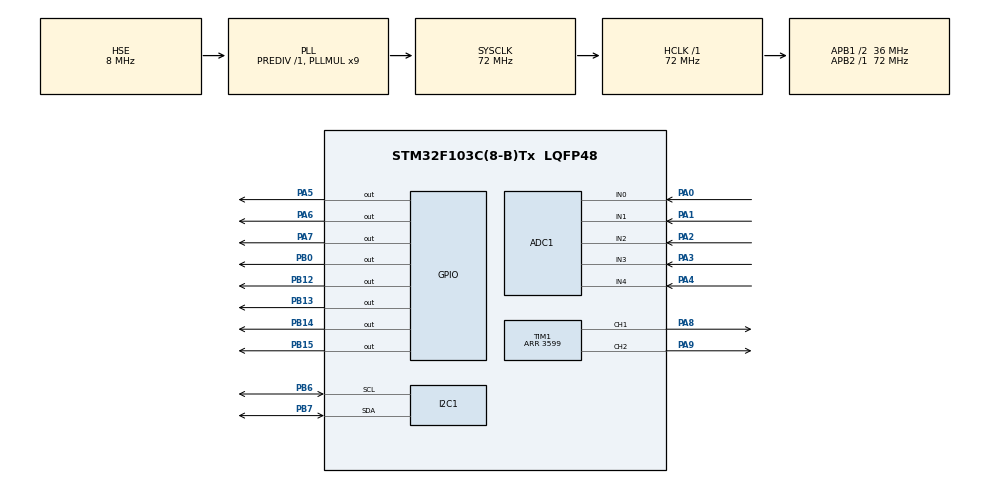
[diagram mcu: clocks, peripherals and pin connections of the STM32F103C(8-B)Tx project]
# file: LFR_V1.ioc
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ADC1.Channel-1\#ChannelRegularConversion=ADC_CHANNEL_0
ADC1.NbrOfConversionFlag=1
ADC1.Rank-1\#ChannelRegularConversion=1
ADC1.SamplingTime-1\#ChannelRegularConversion=ADC_SAMPLETIME_1CYCLE_5
ADC1.master=1
Mcu.Family=STM32F1
Mcu.Name=STM32F103C(8-B)Tx
Mcu.Package=LQFP48
NVIC.PriorityGroup=NVIC_PRIORITYGROUP_4
NVIC.TIM2_IRQn=true\:0\:0\:false\:false\:true\:true\:true\:true
PA0-WKUP.Signal=ADCx_IN0
PA1.Signal=ADCx_IN1
PA13.Mode=Serial_Wire
PA13.Signal=SYS_JTMS-SWDIO
PA14.Mode=Serial_Wire
PA14.Signal=SYS_JTCK-SWCLK
PA2.Signal=ADCx_IN2
PA3.Signal=ADCx_IN3
PA4.Signal=ADCx_IN4
PA5.Signal=GPIO_Output
PA6.Signal=GPIO_Output
PA7.Signal=GPIO_Output
PA8.Signal=S_TIM1_CH1
PA9.Signal=S_TIM1_CH2
PB0.Signal=GPIO_Output
PB12.Signal=GPIO_Output
PB13.Signal=GPIO_Output
PB14.Signal=GPIO_Output
PB15.Signal=GPIO_Output
PB6.Mode=I2C
PB6.Signal=I2C1_SCL
PB7.Mode=I2C
PB7.Signal=I2C1_SDA
PD0-OSC_IN.Mode=HSE-External-Oscillator
PD0-OSC_IN.Signal=RCC_OSC_IN
PD1-OSC_OUT.Mode=HSE-External-Oscillator
PD1-OSC_OUT.Signal=RCC_OSC_OUT
ProjectManager.HeapSize=0x200
ProjectManager.StackSize=0x400
ProjectManager.TargetToolchain=STM32CubeIDE
RCC.ADCPresc=RCC_ADCPCLK2_DIV6
RCC.AHBFreq_Value=72000000
RCC.APB1CLKDivider=RCC_HCLK_DIV2
RCC.APB1Freq_Value=36000000
RCC.APB1TimFreq_Value=72000000
RCC.APB2Freq_Value=72000000
RCC.APB2TimFreq_Value=72000000
RCC.HCLKFreq_Value=72000000
RCC.PLLMUL=RCC_PLL_MUL9
RCC.PLLSourceVirtual=RCC_PLLSOURCE_HSE
RCC.SYSCLKFreq_VALUE=72000000
RCC.SYSCLKSource=RCC_SYSCLKSOURCE_PLLCLK
RCC.USBFreq_Value=72000000
SH.ADCx_IN0.0=ADC1_IN0,IN0
SH.ADCx_IN1.0=ADC1_IN1,IN1
SH.ADCx_IN2.0=ADC1_IN2,IN2
SH.ADCx_IN3.0=ADC1_IN3,IN3
SH.ADCx_IN4.0=ADC1_IN4,IN4
SH.S_TIM1_CH1.0=TIM1_CH1,PWM Generation1 CH1
SH.S_TIM1_CH2.0=TIM1_CH2,PWM Generation2 CH2
TIM1.AutoReloadPreload=TIM_AUTORELOAD_PRELOAD_ENABLE
TIM1.AutomaticOutput=TIM_AUTOMATICOUTPUT_ENABLE
TIM1.Channel-PWM\ Generation1\ CH1=TIM_CHANNEL_1
TIM1.Channel-PWM\ Generation2\ CH2=TIM_CHANNEL_2
TIM1.Period=3599
TIM2.Period=999
TIM2.Prescaler=71
VP_TIM1_VS_ClockSourceINT.Mode=Internal
VP_TIM2_VS_ClockSourceINT.Mode=Internal
board=custom

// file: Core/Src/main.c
/* USER CODE BEGIN Header */
/**
  ******************************************************************************
  * @file           : main.c
  * @brief          : Main program body
  ******************************************************************************
  * @attention
  *
  * Copyright (c) 2026 STMicroelectronics.
  * All rights reserved.
  *
  * This software is licensed under terms that can be found in the LICENSE file
  * in the root directory of this software component.
  * If no LICENSE file comes with this software, it is provided AS-IS.
  *
  ******************************************************************************
  */
/* USER CODE END Header */
#include "main.h"

/* USER CODE BEGIN Includes */
#include "ssd1306.h"
#include "ssd1306_tests.h" // Optional
#include "ssd1306_fonts.h"
#include <stdio.h>
#include "lfr.h"

/* USER CODE END Includes */

ADC_HandleTypeDef hadc1;

I2C_HandleTypeDef hi2c1;

TIM_HandleTypeDef htim1;
TIM_HandleTypeDef htim2;

void SystemClock_Config(void);
static void MX_GPIO_Init(void);
static void MX_ADC1_Init(void);
static void MX_I2C1_Init(void);
static void MX_TIM1_Init(void);
static void MX_TIM2_Init(void);

/* USER CODE BEGIN 0 */
uint32_t read_adc_channel(uint32_t channel) {
    ADC_ChannelConfTypeDef sConfig = {0};
    sConfig.Channel = channel;
    sConfig.Rank = ADC_REGULAR_RANK_1;
    sConfig.SamplingTime = ADC_SAMPLETIME_71CYCLES_5;
    if (HAL_ADC_ConfigChannel(&hadc1, &sConfig) != HAL_OK) {
        Error_Handler();
    }
    HAL_ADC_Start(&hadc1);
    HAL_ADC_PollForConversion(&hadc1, 100);
    uint32_t val = HAL_ADC_GetValue(&hadc1);
    HAL_ADC_Stop(&hadc1);
    return val;
}

/* USER CODE END 0 */

int main(void)
{

  /* MCU Configuration--------------------------------------------------------*/

  /* Reset of all peripherals, Initializes the Flash interface and the Systick. */
  HAL_Init();

  /* Configure the system clock */
  SystemClock_Config();

  /* Initialize all configured peripherals */
  MX_GPIO_Init();
  MX_ADC1_Init();
  MX_I2C1_Init();
  MX_TIM1_Init();
  MX_TIM2_Init();
  /* USER CODE BEGIN 2 */
  LFR_Init();
  HAL_TIM_Base_Start_IT(&htim2);

  ssd1306_Init();
  HAL_Delay(100);
  ssd1306_Fill(Black);
  ssd1306_SetCursor(14, 23);
  ssd1306_WriteString("Team Axon", Font_11x18, White);
  ssd1306_UpdateScreen();
  HAL_Delay(2000);

  /* USER CODE END 2 */

  /* Infinite loop */
  /* USER CODE BEGIN WHILE */
  typedef enum {
      STATE_MAIN_MENU,
      STATE_PID_MENU,
      STATE_TUNE_VAL,
      STATE_STOPWATCH,
      STATE_RUN_TIMES,
      STATE_TUNE_SPEED
  } MenuState_t;

  MenuState_t current_state = STATE_MAIN_MENU;
  uint8_t main_menu_index = 0;
  uint8_t pid_menu_index = 0;

  // ==========================================
  // HARDCODED DEFAULT SETTINGS
  // Change these values to set the startup PID
  // and speed directly from the code!
  // ==========================================
  float pid_p = 0.2f;      // Proportional (Start 0.1 - 0.3)
  float pid_i = 0.0f;      // Integral (Keep at 0 until P and D are perfect)
  float pid_d = 3.0f;      // Derivative (Start 1.0 - 5.0)
  int robot_speed = 1500;  // Base speed (0 to 3599) - Lowered to 1500 for testing
  int motor_offset = 0;    // Reset offset to 0. A massive offset saturates the motors!
  // ==========================================

  uint8_t prev_up = 0;
  uint8_t prev_down = 0;
  uint8_t prev_select = 0;
  uint8_t prev_start = 0;

  uint32_t stopwatch_start_time = 0;
  uint32_t run_times[15] = {0};
  uint8_t num_run_times = 0;
  uint8_t run_times_scroll = 0;

  const char* menu_options[3] = {
      "PID Tuning",
      "Speed Tuning",
      "Run Times"
  };

  const char* pid_options[4] = {
      "Tune P",
      "Tune I",
      "Tune D",
      "Back"
  };

  while (1)
  {
      uint32_t l_sw_val = LFR_GetSwitchL();
      uint32_t r_sw_val = LFR_GetSwitchR();

      uint8_t btn_up = (l_sw_val > 400 && l_sw_val < 900) ? 1 : 0;
      uint8_t btn_down = (l_sw_val >= 900 && l_sw_val < 1350) ? 1 : 0;
      uint8_t btn_select = (l_sw_val >= 1350 && l_sw_val < 1800) ? 1 : 0;

      uint8_t btn_start = (r_sw_val > 400 && r_sw_val < 900) ? 1 : 0;
      uint8_t btn_calibrate = (r_sw_val >= 900 && r_sw_val < 1350) ? 1 : 0;

      // Start Button Logic (Stopwatch)
      if (btn_start && !prev_start) {
          if (current_state == STATE_MAIN_MENU) {
              current_state = STATE_STOPWATCH;
              stopwatch_start_time = HAL_GetTick();

              LFR_SetPID(pid_p, pid_i, pid_d);
              LFR_SetBaseSpeed(robot_speed);
              LFR_SetMotorOffset(motor_offset);
              LFR_Start();
          } else if (current_state == STATE_STOPWATCH) {
              LFR_Stop();

              uint32_t elapsed = HAL_GetTick() - stopwatch_start_time;

              // Shift history down and insert at top
              for (int i = 14; i > 0; i--) {
                  run_times[i] = run_times[i-1];
              }
              run_times[0] = elapsed;
              if (num_run_times < 15) num_run_times++;

              // Return to main menu
              current_state = STATE_MAIN_MENU;
          }
      }
      prev_start = btn_start;

      // Calibrate Button Logic
      if (btn_calibrate && current_state == STATE_MAIN_MENU) {
          LFR_Calibrate();

          // Make the robot rotate automatically during calibration
          LFR_SetMotors(1500, -1500);

          const char* dots_str[4] = {"", ".", "..", "..."};
          uint32_t cal_start = HAL_GetTick();
          uint32_t elapsed = 0;

          while ((elapsed = HAL_GetTick() - cal_start) <= 10000) {
              ssd1306_Fill(Black);

              char cal_str[20];
              sprintf(cal_str, "Calibrating%s", dots_str[(elapsed / 500) % 4]);
              ssd1306_SetCursor(18, 15);
              ssd1306_WriteString(cal_str, Font_7x10, White);

              // Draw progress bar outline
              ssd1306_DrawRectangle(14, 32, 114, 42, White);

              // Fill progress bar (max width 96)
              int fill_width = (elapsed * 96) / 10000;
              if (fill_width > 0) {
                  ssd1306_FillRectangle(16, 34, 16 + fill_width, 40, White);
              }

              // Percentage text
              char pct_str[10];
              sprintf(pct_str, "%lu%%", (elapsed * 100) / 10000);
              ssd1306_SetCursor(55, 48);
              ssd1306_WriteString(pct_str, Font_6x8, White);

              ssd1306_UpdateScreen();
          }

          // Calibration complete message
          LFR_EndCalibrate();

          // Stop rotating
          LFR_SetMotors(0, 0);

          ssd1306_Fill(Black);
          ssd1306_SetCursor(28, 25);
          ssd1306_WriteString("Complete!", Font_7x10, White);
          ssd1306_UpdateScreen();
          HAL_Delay(1500);

          // Force clear previous button states to prevent phantom clicks
          prev_up = prev_down = prev_select = 0;
          continue; // Restart the loop
      }

      // State machine for menu navigation
      if (btn_up && !prev_up) {
          if (current_state == STATE_MAIN_MENU) {
              main_menu_index = (main_menu_index == 0) ? 2 : main_menu_index - 1;
          } else if (current_state == STATE_PID_MENU) {
              pid_menu_index = (pid_menu_index == 0) ? 3 : pid_menu_index - 1;
          } else if (current_state == STATE_TUNE_VAL) {
              if (pid_menu_index == 0) pid_p += 0.1f;
              else if (pid_menu_index == 1) pid_i += 0.0001f;
              else if (pid_menu_index == 2) pid_d += 0.1f;
          } else if (current_state == STATE_RUN_TIMES) {
              if (run_times_scroll > 0) run_times_scroll--;
          } else if (current_state == STATE_TUNE_SPEED) {
              if (robot_speed <= 4080) robot_speed += 10;
              else robot_speed = 4090; // clamp
          }
      }
      if (btn_down && !prev_down) {
          if (current_state == STATE_MAIN_MENU) {
              main_menu_index = (main_menu_index == 2) ? 0 : main_menu_index + 1;
          } else if (current_state == STATE_PID_MENU) {
              pid_menu_index = (pid_menu_index == 3) ? 0 : pid_menu_index + 1;
          } else if (current_state == STATE_TUNE_VAL) {
              if (pid_menu_index == 0) pid_p -= 0.1f;
              else if (pid_menu_index == 1) pid_i -= 0.0001f;
              else if (pid_menu_index == 2) pid_d -= 0.1f;
          } else if (current_state == STATE_RUN_TIMES) {
              if (num_run_times > 4 && run_times_scroll < num_run_times - 4) {
                  run_times_scroll++;
              }
          } else if (current_state == STATE_TUNE_SPEED) {
              if (robot_speed >= 10) robot_speed -= 10;
              else robot_speed = 0; // clamp
          }
      }
      if (btn_select && !prev_select) {
          if (current_state == STATE_MAIN_MENU) {
              if (main_menu_index == 0) { // PID Tuning
                  current_state = STATE_PID_MENU;
                  pid_menu_index = 0;
              } else if (main_menu_index == 1) { // Speed Tuning
                  current_state = STATE_TUNE_SPEED;
              } else if (main_menu_index == 2) { // Run Times
                  current_state = STATE_RUN_TIMES;
                  run_times_scroll = 0;
              }
          } else if (current_state == STATE_PID_MENU) {
              if (pid_menu_index == 3) { // Back
                  current_state = STATE_MAIN_MENU;
              } else {
                  current_state = STATE_TUNE_VAL;
              }
          } else if (current_state == STATE_TUNE_VAL) {
              // Press select again to confirm and return to PID menu
              current_state = STATE_PID_MENU;
          } else if (current_state == STATE_RUN_TIMES) {
              // Press select to return to main menu
              current_state = STATE_MAIN_MENU;
          } else if (current_state == STATE_TUNE_SPEED) {
              current_state = STATE_MAIN_MENU;
          }
      }

      prev_up = btn_up;
      prev_down = btn_down;
      prev_select = btn_select;

      // Render Menu
      ssd1306_Fill(Black);

      if (current_state == STATE_MAIN_MENU || current_state == STATE_PID_MENU) {
          uint8_t num_options = (current_state == STATE_MAIN_MENU) ? 3 : 4;
          uint8_t active_idx = (current_state == STATE_MAIN_MENU) ? main_menu_index : pid_menu_index;
          const char** options_arr = (current_state == STATE_MAIN_MENU) ? menu_options : pid_options;

          // Draw shallow arc/curve on the left
          ssd1306_Line(2, 5, 6, 18, White);
          ssd1306_Line(6, 18, 10, 32, White);
          ssd1306_Line(10, 32, 6, 46, White);
          ssd1306_Line(6, 46, 2, 59, White);

          // Top Item (Previous)
          int prev_idx = (active_idx == 0) ? num_options - 1 : active_idx - 1;
          ssd1306_DrawCircle(6, 15, 2, White);
          ssd1306_SetCursor(16, 11);
          ssd1306_WriteString((char*)options_arr[prev_idx], Font_6x8, White);

          // Center Item (Selected)
          ssd1306_DrawCircle(10, 32, 3, White);
          ssd1306_FillCircle(10, 32, 1, White);
          ssd1306_Line(13, 32, 18, 32, White);

          // Highlight bar
          ssd1306_FillRectangle(18, 23, 127, 41, White);
          ssd1306_SetCursor(22, 27);
          ssd1306_WriteString((char*)options_arr[active_idx], Font_7x10, Black);

          // Bottom Item (Next)
          int next_idx = (active_idx == num_options - 1) ? 0 : active_idx + 1;
          ssd1306_DrawCircle(6, 49, 2, White);
          ssd1306_SetCursor(16, 45);
          ssd1306_WriteString((char*)options_arr[next_idx], Font_6x8, White);
      }
      else if (current_state == STATE_TUNE_VAL) {
          // Tune Value Screen
          ssd1306_SetCursor(36, 5);
          if (pid_menu_index == 0) ssd1306_WriteString("Tuning P", Font_7x10, White);
          else if (pid_menu_index == 1) ssd1306_WriteString("Tuning I", Font_7x10, White);
          else if (pid_menu_index == 2) ssd1306_WriteString("Tuning D", Font_7x10, White);

          char val_str[16];
          float val = (pid_menu_index == 0) ? pid_p : (pid_menu_index == 1) ? pid_i : pid_d;

          // Manual float to string to avoid printf %f missing library issues
          int sign = (val < 0) ? -1 : 1;
          val *= sign;
          int int_part = (int)val;

          if (pid_menu_index == 1) { // 4 decimals for I
              int frac_part = (int)((val - int_part) * 10000.0f + 0.5f);
              if (frac_part >= 10000) { int_part++; frac_part -= 10000; }
              sprintf(val_str, "%s%d.%04d", (sign < 0) ? "-" : "", int_part, frac_part);
          } else { // 1 decimal for P and D
              int frac_part = (int)((val - int_part) * 10.0f + 0.5f);
              if (frac_part >= 10) { int_part++; frac_part -= 10; }
              sprintf(val_str, "%s%d.%01d", (sign < 0) ? "-" : "", int_part, frac_part);
          }

          // Draw neat bounding box
          ssd1306_DrawRectangle(10, 20, 118, 48, White);
          ssd1306_SetCursor(20, 27);
          ssd1306_WriteString(val_str, Font_11x18, White);

          // Draw UP / DOWN hints
          ssd1306_SetCursor(13, 54);
          ssd1306_WriteString("[UP/DN to adjust]", Font_6x8, White);
      }
      else if (current_state == STATE_TUNE_SPEED) {
          // Tune Speed Screen
          ssd1306_SetCursor(22, 5);
          ssd1306_WriteString("Tuning Speed", Font_7x10, White);

          char val_str[16];
          int len = sprintf(val_str, "%d", robot_speed);

          // Draw neat bounding box
          ssd1306_DrawRectangle(10, 20, 118, 48, White);

          // Dynamically center the number based on its length
          int x_pos = 10 + (108 - (len * 11)) / 2;
          ssd1306_SetCursor(x_pos, 27);
          ssd1306_WriteString(val_str, Font_11x18, White);

          // Draw UP / DOWN hints
          ssd1306_SetCursor(13, 54);
          ssd1306_WriteString("[UP/DN to adjust]", Font_6x8, White);
      }
      else if (current_state == STATE_STOPWATCH) {
          // Stopwatch Screen
          ssd1306_SetCursor(38, 5);
          ssd1306_WriteString("STOPWATCH", Font_7x10, White);

          uint32_t elapsed = HAL_GetTick() - stopwatch_start_time;
          uint32_t ms = elapsed % 1000;
          uint32_t sec = (elapsed / 1000) % 60;
          uint32_t min = (elapsed / 60000);

          char time_str[16];
          sprintf(time_str, "%02lu:%02lu.%03lu", min, sec, ms);

          // Draw neat bounding box
          ssd1306_DrawRectangle(10, 20, 118, 48, White);
          ssd1306_SetCursor(18, 27);
          ssd1306_WriteString(time_str, Font_11x18, White);

          ssd1306_SetCursor(16, 54);
          ssd1306_WriteString("[START to return]", Font_6x8, White);
      }
      else if (current_state == STATE_RUN_TIMES) {
          ssd1306_SetCursor(32, 0);
          ssd1306_WriteString("RUN TIMES", Font_7x10, White);
          ssd1306_Line(0, 12, 127, 12, White);

          if (num_run_times == 0) {
              ssd1306_SetCursor(10, 30);
              ssd1306_WriteString("No runs yet!", Font_7x10, White);
          } else {
              for (int i = 0; i < 4; i++) {
                  int idx = run_times_scroll + i;
                  if (idx >= num_run_times) break;

                  uint32_t elapsed = run_times[idx];
                  uint32_t ms = elapsed % 1000;
                  uint32_t sec = (elapsed / 1000) % 60;
                  uint32_t min = (elapsed / 60000);

                  char time_str[24];
                  sprintf(time_str, "%2d.%02lu:%02lu.%03lu", idx + 1, min, sec, ms);

                  ssd1306_SetCursor(5, 16 + i * 11);
                  ssd1306_WriteString(time_str, Font_7x10, White);
              }

              // Draw scroll indicator if list overflows
              if (num_run_times > 4) {
                  int scroll_y = 15 + (run_times_scroll * 30) / (num_run_times - 4);
                  ssd1306_DrawRectangle(124, 15, 127, 55, White);
                  ssd1306_FillRectangle(124, scroll_y, 127, scroll_y + 10, White);
              }
          }

          ssd1306_SetCursor(13, 56);
          ssd1306_WriteString("[SELECT to return]", Font_6x8, White);
      }

      ssd1306_UpdateScreen();
      HAL_Delay(50); // Small delay for button debouncing
    /* USER CODE END WHILE */

  }
}

void SystemClock_Config(void)
{
  RCC_OscInitTypeDef RCC_OscInitStruct = {0};
  RCC_ClkInitTypeDef RCC_ClkInitStruct = {0};
  RCC_PeriphCLKInitTypeDef PeriphClkInit = {0};

  /** Initializes the RCC Oscillators according to the specified parameters
  * in the RCC_OscInitTypeDef structure.
  */
  RCC_OscInitStruct.OscillatorType = RCC_OSCILLATORTYPE_HSE;
  RCC_OscInitStruct.HSEState = RCC_HSE_ON;
  RCC_OscInitStruct.HSEPredivValue = RCC_HSE_PREDIV_DIV1;
  RCC_OscInitStruct.HSIState = RCC_HSI_ON;
  RCC_OscInitStruct.PLL.PLLState = RCC_PLL_ON;
  RCC_OscInitStruct.PLL.PLLSource = RCC_PLLSOURCE_HSE;
  RCC_OscInitStruct.PLL.PLLMUL = RCC_PLL_MUL9;
  if (HAL_RCC_OscConfig(&RCC_OscInitStruct) != HAL_OK)
  {
    Error_Handler();
  }

  /** Initializes the CPU, AHB and APB buses clocks
  */
  RCC_ClkInitStruct.ClockType = RCC_CLOCKTYPE_HCLK|RCC_CLOCKTYPE_SYSCLK
                              |RCC_CLOCKTYPE_PCLK1|RCC_CLOCKTYPE_PCLK2;
  RCC_ClkInitStruct.SYSCLKSource = RCC_SYSCLKSOURCE_PLLCLK;
  RCC_ClkInitStruct.AHBCLKDivider = RCC_SYSCLK_DIV1;
  RCC_ClkInitStruct.APB1CLKDivider = RCC_HCLK_DIV2;
  RCC_ClkInitStruct.APB2CLKDivider = RCC_HCLK_DIV1;

  if (HAL_RCC_ClockConfig(&RCC_ClkInitStruct, FLASH_LATENCY_2) != HAL_OK)
  {
    Error_Handler();
  }
  PeriphClkInit.PeriphClockSelection = RCC_PERIPHCLK_ADC;
  PeriphClkInit.AdcClockSelection = RCC_ADCPCLK2_DIV6;
  if (HAL_RCCEx_PeriphCLKConfig(&PeriphClkInit) != HAL_OK)
  {
    Error_Handler();
  }
}

static void MX_ADC1_Init(void)
{

  ADC_ChannelConfTypeDef sConfig = {0};

  /** Common config
  */
  hadc1.Instance = ADC1;
  hadc1.Init.ScanConvMode = ADC_SCAN_DISABLE;
  hadc1.Init.ContinuousConvMode = DISABLE;
  hadc1.Init.DiscontinuousConvMode = DISABLE;
  hadc1.Init.ExternalTrigConv = ADC_SOFTWARE_START;
  hadc1.Init.DataAlign = ADC_DATAALIGN_RIGHT;
  hadc1.Init.NbrOfConversion = 1;
  if (HAL_ADC_Init(&hadc1) != HAL_OK)
  {
    Error_Handler();
  }

  /** Configure Regular Channel
  */
  sConfig.Channel = ADC_CHANNEL_0;
  sConfig.Rank = ADC_REGULAR_RANK_1;
  sConfig.SamplingTime = ADC_SAMPLETIME_1CYCLE_5;
  if (HAL_ADC_ConfigChannel(&hadc1, &sConfig) != HAL_OK)
  {
    Error_Handler();
  }

}

static void MX_I2C1_Init(void)
{

  hi2c1.Instance = I2C1;
  hi2c1.Init.ClockSpeed = 100000;
  hi2c1.Init.DutyCycle = I2C_DUTYCYCLE_2;
  hi2c1.Init.OwnAddress1 = 0;
  hi2c1.Init.AddressingMode = I2C_ADDRESSINGMODE_7BIT;
  hi2c1.Init.DualAddressMode = I2C_DUALADDRESS_DISABLE;
  hi2c1.Init.OwnAddress2 = 0;
  hi2c1.Init.GeneralCallMode = I2C_GENERALCALL_DISABLE;
  hi2c1.Init.NoStretchMode = I2C_NOSTRETCH_DISABLE;
  if (HAL_I2C_Init(&hi2c1) != HAL_OK)
  {
    Error_Handler();
  }

}

static void MX_TIM1_Init(void)
{

  TIM_ClockConfigTypeDef sClockSourceConfig = {0};
  TIM_MasterConfigTypeDef sMasterConfig = {0};
  TIM_OC_InitTypeDef sConfigOC = {0};
  TIM_BreakDeadTimeConfigTypeDef sBreakDeadTimeConfig = {0};

  htim1.Instance = TIM1;
  htim1.Init.Prescaler = 0;
  htim1.Init.CounterMode = TIM_COUNTERMODE_UP;
  htim1.Init.Period = 3599;
  htim1.Init.ClockDivision = TIM_CLOCKDIVISION_DIV1;
  htim1.Init.RepetitionCounter = 0;
  htim1.Init.AutoReloadPreload = TIM_AUTORELOAD_PRELOAD_ENABLE;
  if (HAL_TIM_Base_Init(&htim1) != HAL_OK)
  {
    Error_Handler();
  }
  sClockSourceConfig.ClockSource = TIM_CLOCKSOURCE_INTERNAL;
  if (HAL_TIM_ConfigClockSource(&htim1, &sClockSourceConfig) != HAL_OK)
  {
    Error_Handler();
  }
  if (HAL_TIM_PWM_Init(&htim1) != HAL_OK)
  {
    Error_Handler();
  }
  sMasterConfig.MasterOutputTrigger = TIM_TRGO_RESET;
  sMasterConfig.MasterSlaveMode = TIM_MASTERSLAVEMODE_DISABLE;
  if (HAL_TIMEx_MasterConfigSynchronization(&htim1, &sMasterConfig) != HAL_OK)
  {
    Error_Handler();
  }
  sConfigOC.OCMode = TIM_OCMODE_PWM1;
  sConfigOC.Pulse = 0;
  sConfigOC.OCPolarity = TIM_OCPOLARITY_HIGH;
  sConfigOC.OCNPolarity = TIM_OCNPOLARITY_HIGH;
  sConfigOC.OCFastMode = TIM_OCFAST_DISABLE;
  sConfigOC.OCIdleState = TIM_OCIDLESTATE_RESET;
  sConfigOC.OCNIdleState = TIM_OCNIDLESTATE_RESET;
  if (HAL_TIM_PWM_ConfigChannel(&htim1, &sConfigOC, TIM_CHANNEL_1) != HAL_OK)
  {
    Error_Handler();
  }
  if (HAL_TIM_PWM_ConfigChannel(&htim1, &sConfigOC, TIM_CHANNEL_2) != HAL_OK)
  {
    Error_Handler();
  }
  sBreakDeadTimeConfig.OffStateRunMode = TIM_OSSR_DISABLE;
  sBreakDeadTimeConfig.OffStateIDLEMode = TIM_OSSI_DISABLE;
  sBreakDeadTimeConfig.LockLevel = TIM_LOCKLEVEL_OFF;
  sBreakDeadTimeConfig.DeadTime = 0;
  sBreakDeadTimeConfig.BreakState = TIM_BREAK_DISABLE;
  sBreakDeadTimeConfig.BreakPolarity = TIM_BREAKPOLARITY_HIGH;
  sBreakDeadTimeConfig.AutomaticOutput = TIM_AUTOMATICOUTPUT_ENABLE;
  if (HAL_TIMEx_ConfigBreakDeadTime(&htim1, &sBreakDeadTimeConfig) != HAL_OK)
  {
    Error_Handler();
  }
  HAL_TIM_MspPostInit(&htim1);

}

static void MX_TIM2_Init(void)
{

  TIM_ClockConfigTypeDef sClockSourceConfig = {0};
  TIM_MasterConfigTypeDef sMasterConfig = {0};

  htim2.Instance = TIM2;
  htim2.Init.Prescaler = 71;
  htim2.Init.CounterMode = TIM_COUNTERMODE_UP;
  htim2.Init.Period = 999;
  htim2.Init.ClockDivision = TIM_CLOCKDIVISION_DIV1;
  htim2.Init.AutoReloadPreload = TIM_AUTORELOAD_PRELOAD_DISABLE;
  if (HAL_TIM_Base_Init(&htim2) != HAL_OK)
  {
    Error_Handler();
  }
  sClockSourceConfig.ClockSource = TIM_CLOCKSOURCE_INTERNAL;
  if (HAL_TIM_ConfigClockSource(&htim2, &sClockSourceConfig) != HAL_OK)
  {
    Error_Handler();
  }
  sMasterConfig.MasterOutputTrigger = TIM_TRGO_RESET;
  sMasterConfig.MasterSlaveMode = TIM_MASTERSLAVEMODE_DISABLE;
  if (HAL_TIMEx_MasterConfigSynchronization(&htim2, &sMasterConfig) != HAL_OK)
  {
    Error_Handler();
  }

}

static void MX_GPIO_Init(void)
{
  GPIO_InitTypeDef GPIO_InitStruct = {0};

  /* GPIO Ports Clock Enable */
  __HAL_RCC_GPIOD_CLK_ENABLE();
  __HAL_RCC_GPIOA_CLK_ENABLE();
  __HAL_RCC_GPIOB_CLK_ENABLE();

  /*Configure GPIO pin Output Level */
  HAL_GPIO_WritePin(GPIOA, GPIO_PIN_5|GPIO_PIN_6|GPIO_PIN_7, GPIO_PIN_RESET);

  /*Configure GPIO pin Output Level */
  HAL_GPIO_WritePin(GPIOB, GPIO_PIN_0|GPIO_PIN_12|GPIO_PIN_13|GPIO_PIN_14
                          |GPIO_PIN_15, GPIO_PIN_RESET);

  /*Configure GPIO pins : PA5 PA6 PA7 */
  GPIO_InitStruct.Pin = GPIO_PIN_5|GPIO_PIN_6|GPIO_PIN_7;
  GPIO_InitStruct.Mode = GPIO_MODE_OUTPUT_PP;
  GPIO_InitStruct.Pull = GPIO_NOPULL;
  GPIO_InitStruct.Speed = GPIO_SPEED_FREQ_LOW;
  HAL_GPIO_Init(GPIOA, &GPIO_InitStruct);

  /*Configure GPIO pins : PB0 PB12 PB13 PB14
                           PB15 */
  GPIO_InitStruct.Pin = GPIO_PIN_0|GPIO_PIN_12|GPIO_PIN_13|GPIO_PIN_14
                          |GPIO_PIN_15;
  GPIO_InitStruct.Mode = GPIO_MODE_OUTPUT_PP;
  GPIO_InitStruct.Pull = GPIO_NOPULL;
  GPIO_InitStruct.Speed = GPIO_SPEED_FREQ_LOW;
  HAL_GPIO_Init(GPIOB, &GPIO_InitStruct);

}

/* USER CODE BEGIN 4 */
void HAL_TIM_PeriodElapsedCallback(TIM_HandleTypeDef *htim) {
    if (htim->Instance == TIM2) {
        LFR_ControlLoop();
    }
}
/* USER CODE END 4 */

void Error_Handler(void)
{
  __disable_irq();
  while (1)
  {
  }
}
